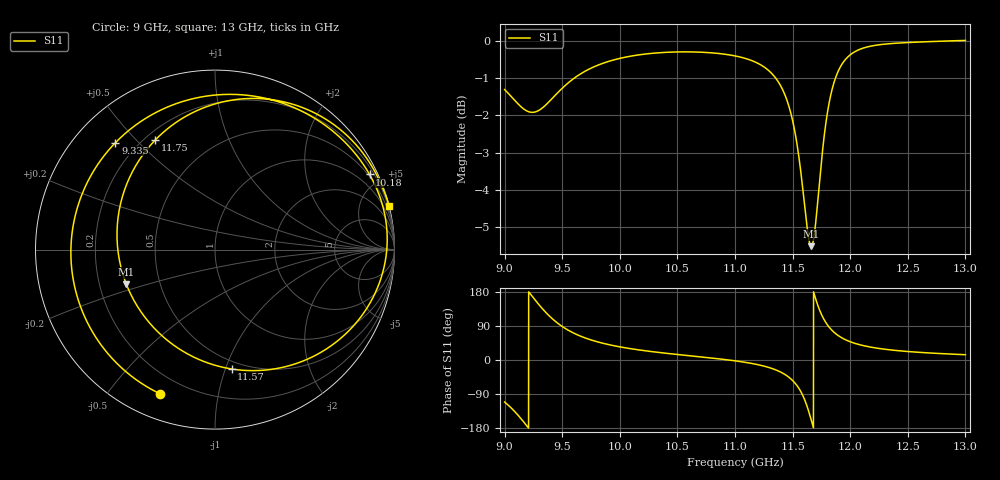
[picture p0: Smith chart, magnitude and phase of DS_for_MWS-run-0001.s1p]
! TOUCHSTONE file generated by CST DESIGN STUDIO
! Date and time: Tue Feb  4 18:02:53 2025
! Project name: C:\Work\MatlabApps\UnitCellOptimizationMatlab\CST\unitcell.cst
! Tree item: Tasks\Sweep1\SPara1\S-Parameters
! Header version: 2024
! Port assignment regex: !\s*Touchstone port\s*([0-9]+)\s*=\s*(CST MWS port|CST DES external port|CST DES block port)\s*(.+)\s* \(\"(.*)\"\)(\s*mode\s*([0-9]+))?.*
! Touchstone port assignment:
! Touchstone port 1 = CST DES external port 1 ("")
# GHz S MA R 50
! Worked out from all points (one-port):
!   4001 points, 9 GHz to 13 GHz, reference 50 ohm
!   lowest |S11| = -5.5 dB at 11.66 GHz (marker M1), VSWR 3.26, Z = 15.8 - j8.53 ohm
!   |S11| at or under -10 dB: nowhere
!   S11 on the Smith chart (normalised r, x): 9 GHz: 0.11, -0.68; 9.335 GHz: 0.12, +0.43; 10.18 GHz: 0.43, +4.30; 11.57 GHz: 0.43, -1.05; 11.75 GHz: 0.24, +0.57; 13 GHz: -0.01, +8.17
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9  0.8597 -110.9
9.088  0.8315 -136.1
9.185  0.8061 -170.8
9.255  0.8017 162.1
9.335  0.814 133.0
9.412  0.8361 109.4
9.5  0.8632 88.5
9.602  0.89 70.7
9.714  0.9124 56.6
10  0.9465 34.7
10.182  0.9576 25.9
10.5  0.9655 14.5
11  0.9538 -2.2
11.328  0.9004 -23.1
11.425  0.8518 -36.6
11.5  0.7813 -54.1
11.569  0.6714 -82.1
11.616  0.5789 -113.9
11.662  0.5303 -158.6
11.704  0.5771 157.7
11.753  0.6954 118.6
11.792  0.7816 97.2
11.837  0.853 79.9
11.911  0.9198 61.4
12  0.9569 48.2
12.188  0.9836 33.4
12.5  0.9939 22.4
13  1 14.0
